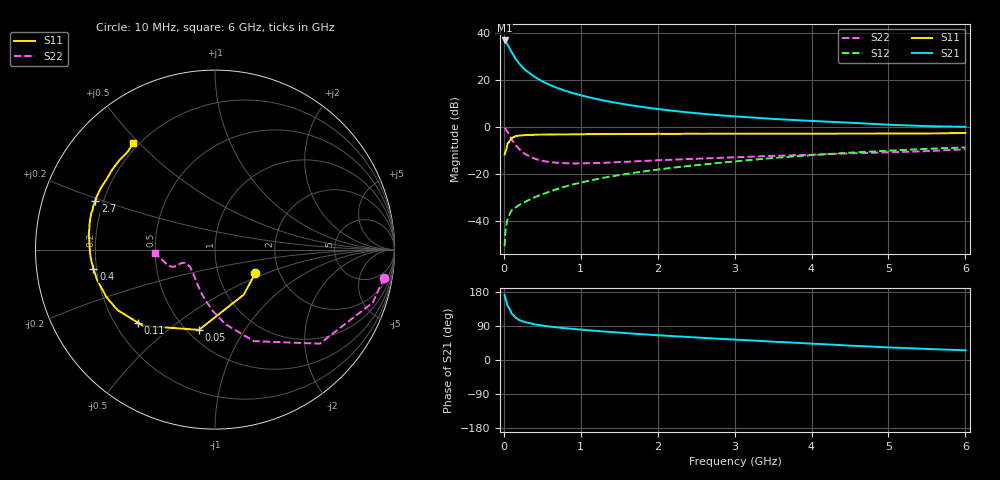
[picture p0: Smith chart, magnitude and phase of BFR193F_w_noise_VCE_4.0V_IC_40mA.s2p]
! (c) 2017  Infineon Technologies AG, Munich
! Infineon Technologies  Discrete & RF Semiconductors
! BFR193F
! VCE =  4.0 V,  IC =  40 mA
! Common Emitter S-Parameters:  Jan 2017
# GHz  S  MA  R  50
!  f  S11  S21  S12  S22
! GHz  MAG  ANG  MAG  ANG  MAG  ANG  MAG  ANG
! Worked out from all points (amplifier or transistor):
!   77 points, 10 MHz to 6 GHz, reference 50 ohm
!   highest |S21| = 36.7 dB at 10 MHz (marker M1)
!   |S21| within 3 dB of that: start of sweep to 69.54 MHz
!   unconditionally stable (mu >= 1): 961 MHz to 2.646 GHz
!   at 130 MHz: K = 0.45, MSG = 32.4 dB, |S12| = -34.6 dB
!   at 2.2 GHz: K = 1.02, MAG = 11.2 dB, |S12| = -17.2 dB
!   at 6 GHz: K = 0.87, MSG = 4.3 dB, |S12| = -8.6 dB
!   lowest NFmin = 1.34 dB at 450 MHz
!   S11 on the Smith chart (normalised r, x): 10 MHz: 1.51, -0.43; 50 MHz: 0.57, -0.65; 110 MHz: 0.29, -0.37; 400 MHz: 0.19, -0.08; 2.7 GHz: 0.17, +0.19; 6 GHz: 0.18, +0.48
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0.01  0.2603 -30.5  68.09 171.7  0.003 85.5  0.9547 -9.4
0.02  0.2978 -57.4  65.99 163.0  0.006 76.2  0.9276 -18.5
0.05  0.4562 -101.3  55.4 142.9  0.0116 63.7  0.7848 -41.9
0.1  0.5839 -133.4  38.65 122.7  0.0171 52.2  0.554 -67.0
0.11  0.5916 -136.6  36.52 121.1  0.0176 52.0  0.5246 -69.4
0.15  0.6392 -148.2  28.37 112.3  0.0196 51.5  0.4193 -82.1
0.2  0.66 -156.3  22.09 105.8  0.0224 52.0  0.3411 -92.2
0.25  0.669 -162.0  17.97 101.6  0.0245 54.0  0.2871 -100.6
0.3  0.6785 -165.6  15.17 98.6  0.0272 56.4  0.2553 -107.2
0.4  0.6855 -171.0  11.51 94.0  0.0326 60.0  0.2138 -117.8
0.5  0.6914 -174.5  9.27 90.9  0.0376 63.4  0.1925 -125.8
0.6  0.6948 -177.0  7.768 88.1  0.0431 65.5  0.1807 -132.2
0.7  0.6971 -179.5  6.678 85.8  0.0489 67.5  0.1748 -137.1
0.9  0.7019 176.9  5.216 82.0  0.061 70.1  0.169 -144.8
1.1  0.7063 174.0  4.285 78.5  0.0723 71.2  0.1721 -149.3
1.5  0.7118 169.3  3.173 72.3  0.0958 72.5  0.1816 -155.1
2.1  0.7178 163.0  2.304 64.3  0.1316 72.3  0.2007 -158.0
2.7  0.7197 158.0  1.835 57.2  0.1679 71.4  0.2192 -158.0
3.1  0.722 154.6  1.642 52.8  0.1932 70.5  0.232 -157.2
4.1  0.7209 145.8  1.324 42.2  0.2604 66.4  0.2623 -158.9
5.1  0.7287 136.0  1.104 32.4  0.3216 60.6  0.2949 -167.7
6  0.7485 127.4  1.009 25.6  0.3711 55.3  0.3375 -176.7
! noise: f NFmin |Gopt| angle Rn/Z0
0.45  1.34  0.43  179  0.06
0.9  1.42  0.44  180  0.07
1.9  1.98  0.59  -165  0.08
2.4  2.27  0.61  -157  0.13
